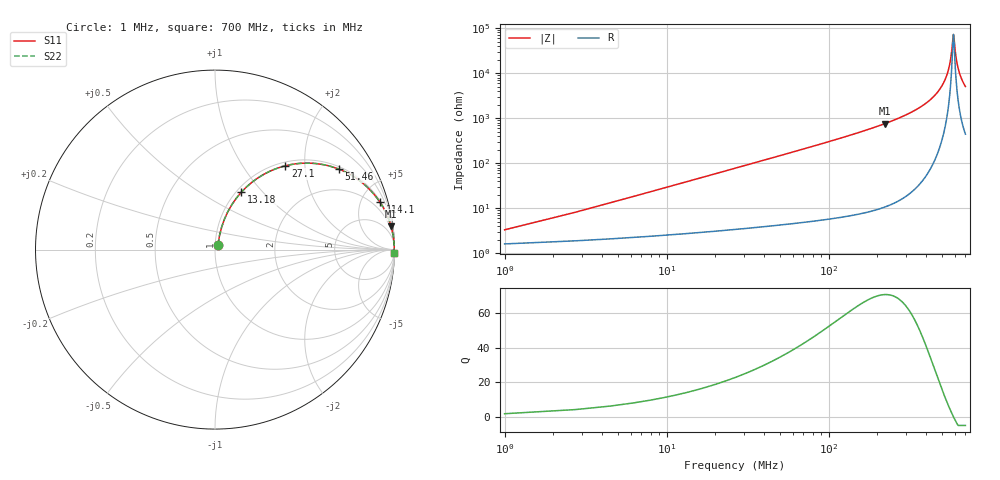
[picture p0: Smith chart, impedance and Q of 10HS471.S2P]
! Coilcraft 1008CS-471 Chip Inductor
! 02 July 2002
# MHZ S MA R 50
!Freq  MagS11  AngS11  MagS21  AngS21  MagS12  AngS12  MagS22  AngS22
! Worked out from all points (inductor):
!   403 points, 1 MHz to 700 MHz, reference 50 ohm
!   read as one part in series: L = 465 nH near 4.48 MHz
!   highest Q = 70.8 at 222 MHz (marker M1), where L = 541 nH
!   self-resonance near 590.9 MHz
!   S11 on the Smith chart (normalised r, x): 1 MHz: 1.03, +0.06; 13.18 MHz: 1.06, +0.77; 27.1 MHz: 1.07, +1.59; 51.46 MHz: 1.09, +3.03; 114.1 MHz: 1.12, +6.93; 700 MHz: open
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1  0.03289 59.2  0.9836 -1.6  0.9836 -1.6  0.03289 59.2
6.22  0.1763 72.8  0.9628 -10.1  0.9628 -10.1  0.1763 72.8
9.7  0.2675 69.4  0.9401 -15.5  0.9401 -15.5  0.2675 69.4
13.18  0.352 65.4  0.9113 -20.6  0.9113 -20.6  0.352 65.4
27.1  0.6092 50.0  0.7671 -37.5  0.7671 -37.5  0.6092 50.0
51.46  0.824 32.9  0.5437 -55.5  0.5437 -55.5  0.824 32.9
77.56  0.9101 23.2  0.3946 -65.5  0.3946 -65.5  0.9101 23.2
114.1  0.9562 16.0  0.2761 -73.0  0.2761 -73.0  0.9562 16.0
117.58  0.9587 15.5  0.268 -73.5  0.268 -73.5  0.9587 15.5
221.98  0.9895 7.5  0.131 -81.7  0.131 -81.7  0.9895 7.5
234.16  0.9908 7.0  0.1221 -82.2  0.1221 -82.2  0.9908 7.0
350.74  0.9968 3.6  0.06301 -85.3  0.06301 -85.3  0.9968 3.6
467.32  0.9985 1.6  0.02742 -86.0  0.02742 -86.0  0.9985 1.6
512.56  0.9986 0.9  0.01657 -84.8  0.01657 -84.8  0.9986 0.9
545.62  0.9987 0.5  0.009337 -81.6  0.009337 -81.6  0.9987 0.5
568.24  0.9987 0.3  0.004734 -73.4  0.004734 -73.4  0.9987 0.3
583.9  0.9986 0.1  0.001957 -45.6  0.001957 -45.6  0.9986 0.1
589.12  0.9986 0.0  0.00143 -15.0  0.00143 -15.0  0.9986 0.0
592.6  0.9986 -0.0  0.001425 12.6  0.001425 12.6  0.9986 -0.0
613.48  0.9985 -0.2  0.004552 71.2  0.004552 71.2  0.9985 -0.2
637.84  0.9984 -0.5  0.008953 79.7  0.008953 79.7  0.9984 -0.5
700  0.9981 -1.1  0.01972 83.8  0.01972 83.8  0.9981 -1.1
